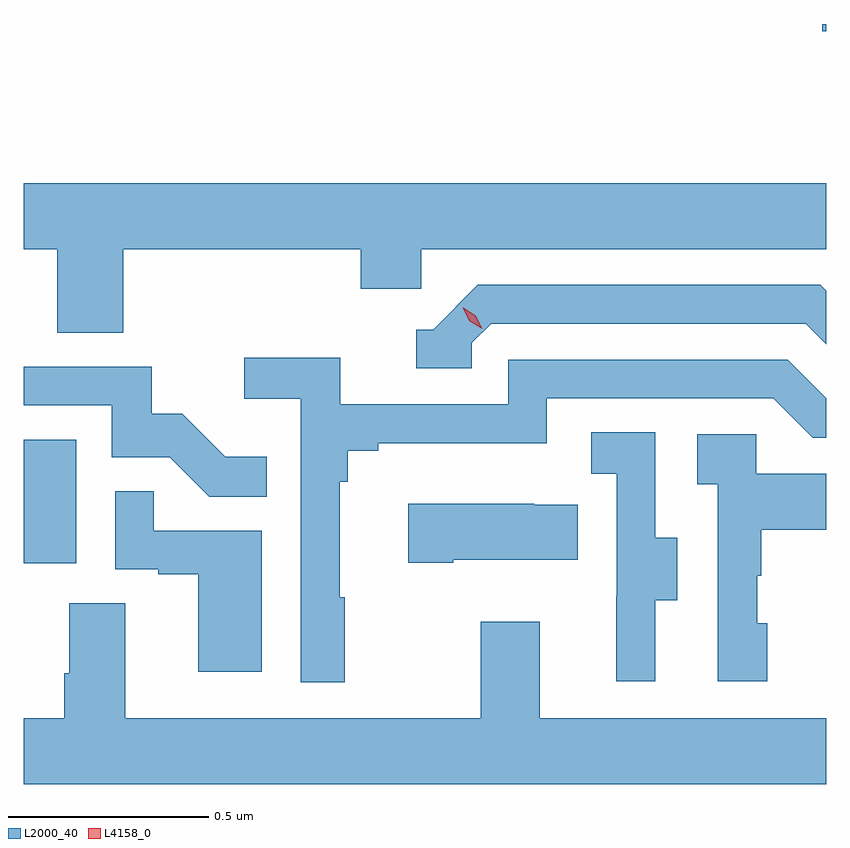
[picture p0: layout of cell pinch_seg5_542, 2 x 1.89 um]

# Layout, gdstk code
import gdstk
lib = gdstk.Library(unit=1e-6, precision=1e-09)
def R(c, l, rs):  # rectangles x0, y0, x1, y1
    for r in rs: c.add(gdstk.rectangle(r[:2], r[2:], *l))
def P(c, l, *ps):  # polygons
    for p in ps: c.add(gdstk.Polygon(p, *l))
L2000_40 = (2000, 40)
L4158_0 = (4158, 0)

pinch_seg5_542 = lib.new_cell('pinch_seg5_542')
R(pinch_seg5_542, L2000_40, [(994.079,849.318,994.21,849.625), (996.068,850.643,996.079,850.661)])
P(pinch_seg5_542, L2000_40, [(994.328,850.1),(994.919,850.1),(994.919,850.002),(995.07,850.002),(995.07,850.1),(996.079,850.1),(996.079,850.264),(994.079,850.264),(994.079,850.1),(994.163,850.1),(994.163,849.892),(994.328,849.892)],
  [(995.196,849.867),(995.244,849.915),(996.027,849.915),(996.079,849.863),(996.079,849.996),(996.064,850.011),(995.211,850.011),(995.1,849.9),(995.057,849.9),(995.057,849.804),(995.196,849.804)],
  [(994.879,849.233),(994.867,849.233),(994.867,849.521),(994.886,849.521),(994.886,849.598),(994.963,849.598),(994.963,849.617),(995.382,849.617),(995.382,849.729),(995.946,849.729),(996.045,849.63),(996.079,849.63),(996.079,849.729),(995.983,849.825),(995.286,849.825),(995.286,849.714),(994.868,849.714),(994.868,849.83),(994.629,849.83),(994.629,849.728),(994.77,849.728),(994.77,849.021),(994.879,849.021)],
  [(994.685,849.583),(994.581,849.583),(994.474,849.69),(994.398,849.69),(994.398,849.807),(994.079,849.807),(994.079,849.711),(994.299,849.711),(994.299,849.582),(994.443,849.582),(994.541,849.484),(994.685,849.484)],
  [(995.653,849.226),(995.707,849.226),(995.707,849.381),(995.652,849.381),(995.652,849.644),(995.493,849.644),(995.493,849.541),(995.556,849.541),(995.556,849.237),(995.555,849.237),(995.555,849.024),(995.653,849.024)],
  [(995.932,849.168),(995.907,849.168),(995.907,849.287),(995.917,849.287),(995.917,849.401),(996.079,849.401),(996.079,849.541),(995.904,849.541),(995.904,849.639),(995.757,849.639),(995.757,849.515),(995.808,849.515),(995.808,849.024),(995.932,849.024)],
  [(994.672,849.399),(994.403,849.399),(994.403,849.497),(994.308,849.497),(994.308,849.303),(994.415,849.303),(994.415,849.291),(994.514,849.291),(994.514,849.048),(994.672,849.048)],
  [(995.149,849.326),(995.459,849.326),(995.459,849.463),(995.351,849.463),(995.351,849.466),(995.037,849.466),(995.037,849.319),(995.149,849.319)],
  [(996.079,848.932),(995.365,848.932),(995.365,849.172),(995.218,849.172),(995.218,848.932),(994.333,848.932),(994.333,849.218),(994.193,849.218),(994.193,849.044),(994.181,849.044),(994.181,848.932),(994.079,848.932),(994.079,848.768),(996.079,848.768)])
P(pinch_seg5_542, L4158_0, [(995.221,849.902),(995.19,849.921),(995.173,849.954),(995.173,849.954),(995.174,849.954),(995.205,849.934),(995.221,849.902),(995.221,849.902)])

lib.write_gds('pinch_seg5_542.gds')
